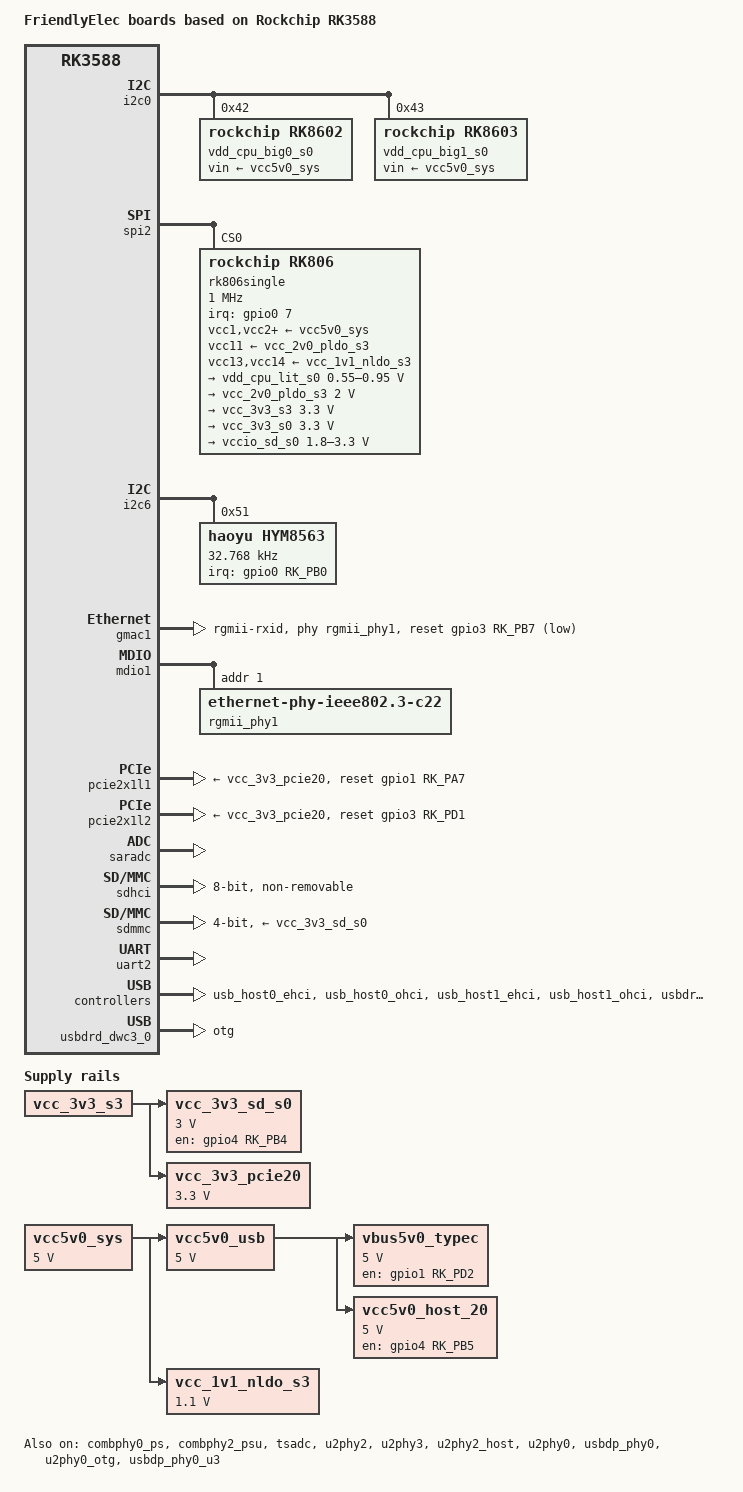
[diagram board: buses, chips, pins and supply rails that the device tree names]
// SPDX-License-Identifier: GPL-2.0-or-later OR MIT
/*
 * Copyright (c) 2021 Rockchip Electronics Co., Ltd.
 *
 * Copyright (c) 2022 FriendlyElec Computer Tech. Co., Ltd.
 * (http://www.friendlyelec.com)
 *
 */

/dts-v1/;

#include <dt-bindings/gpio/gpio.h>
#include <dt-bindings/input/input.h>
#include <dt-bindings/leds/common.h>
#include <dt-bindings/pinctrl/rockchip.h>
#include <dt-bindings/usb/pd.h>
#include "rk3588s.dtsi"

/ {
	model = "FriendlyElec boards based on Rockchip RK3588";
	compatible = "friendlyelec,nanopi6",
		     "rockchip,rk3588";

	vcc5v0_sys: vcc5v0-sys {
		compatible = "regulator-fixed";
		regulator-name = "vcc5v0_sys";
		regulator-always-on;
		regulator-boot-on;
		regulator-min-microvolt = <5000000>;
		regulator-max-microvolt = <5000000>;
	};

	vcc5v0_usb: vcc5v0-usb {
		compatible = "regulator-fixed";
		regulator-name = "vcc5v0_usb";
		regulator-always-on;
		regulator-boot-on;
		regulator-min-microvolt = <5000000>;
		regulator-max-microvolt = <5000000>;
		vin-supply = <&vcc5v0_sys>;
	};

	vcc_1v1_nldo_s3: vcc-1v1-nldo-s3 {
		compatible = "regulator-fixed";
		regulator-name = "vcc_1v1_nldo_s3";
		regulator-always-on;
		regulator-boot-on;
		regulator-min-microvolt = <1100000>;
		regulator-max-microvolt = <1100000>;
		vin-supply = <&vcc5v0_sys>;
	};

	vcc_3v3_sd_s0: vcc-3v3-sd-s0-regulator {
		compatible = "regulator-fixed";
		enable-active-high;
		gpio = <&gpio4 RK_PB4 GPIO_ACTIVE_HIGH>;
		pinctrl-names = "default";
		pinctrl-0 = <&sd_s0_pwr>;
		regulator-always-on;
		regulator-boot-on;
		regulator-max-microvolt = <3000000>;
		regulator-min-microvolt = <3000000>;
		regulator-name = "vcc_3v3_sd_s0";
		vin-supply = <&vcc_3v3_s3>;
	};

	vcc_3v3_pcie20: vcc3v3-pcie20 {
		compatible = "regulator-fixed";
		regulator-name = "vcc_3v3_pcie20";
		regulator-always-on;
		regulator-boot-on;
		regulator-min-microvolt = <3300000>;
		regulator-max-microvolt = <3300000>;
		vin-supply = <&vcc_3v3_s3>;
	};

	vbus5v0_typec: vbus5v0-typec {
		compatible = "regulator-fixed";
		enable-active-high;
		gpio = <&gpio1 RK_PD2 GPIO_ACTIVE_HIGH>;
		pinctrl-names = "default";
		pinctrl-0 = <&typec5v_pwren>;
		regulator-name = "vbus5v0_typec";
		regulator-min-microvolt = <5000000>;
		regulator-max-microvolt = <5000000>;
		vin-supply = <&vcc5v0_usb>;
	};

	vcc5v0_host_20: vcc5v0-host-20 {
		compatible = "regulator-fixed";
		enable-active-high;
		gpio = <&gpio4 RK_PB5 GPIO_ACTIVE_HIGH>;
		pinctrl-names = "default";
		pinctrl-0 = <&vcc5v0_host20_en>;
		regulator-name = "vcc5v0_host_20";
		regulator-min-microvolt = <5000000>;
		regulator-max-microvolt = <5000000>;
		vin-supply = <&vcc5v0_usb>;
	};
};

&combphy0_ps {
	status = "okay";
};

&combphy2_psu {
	status = "okay";
};

&cpu_l0 {
	cpu-supply = <&vdd_cpu_lit_s0>;
	mem-supply = <&vdd_cpu_lit_mem_s0>;
};

&cpu_b0 {
	cpu-supply = <&vdd_cpu_big0_s0>;
	mem-supply = <&vdd_cpu_big0_mem_s0>;
};

&cpu_b2 {
	cpu-supply = <&vdd_cpu_big1_s0>;
	mem-supply = <&vdd_cpu_big1_mem_s0>;
};

&i2c0 {
	pinctrl-names = "default";
	pinctrl-0 = <&i2c0m2_xfer>;
	status = "okay";

	vdd_cpu_big0_s0: vdd_cpu_big0_mem_s0: regulator@42 {
		compatible = "rockchip,rk8602";
		reg = <0x42>;
		fcs,suspend-voltage-selector = <1>;
		regulator-name = "vdd_cpu_big0_s0";
		regulator-always-on;
		regulator-boot-on;
		regulator-min-microvolt = <550000>;
		regulator-max-microvolt = <1050000>;
		regulator-ramp-delay = <2300>;
		vin-supply = <&vcc5v0_sys>;

		regulator-state-mem {
			regulator-off-in-suspend;
		};
	};

	vdd_cpu_big1_s0: vdd_cpu_big1_mem_s0: regulator@43 {
		compatible = "rockchip,rk8603", "rockchip,rk8602";
		reg = <0x43>;
		fcs,suspend-voltage-selector = <1>;
		regulator-name = "vdd_cpu_big1_s0";
		regulator-always-on;
		regulator-boot-on;
		regulator-min-microvolt = <550000>;
		regulator-max-microvolt = <1050000>;
		regulator-ramp-delay = <2300>;
		vin-supply = <&vcc5v0_sys>;

		regulator-state-mem {
			regulator-off-in-suspend;
		};
	};
};

&spi2 {
	status = "okay";
	assigned-clocks = <&cru CLK_SPI2>;
	assigned-clock-rates = <200000000>;
	pinctrl-names = "default";
	pinctrl-0 = <&spi2m2_cs0 &spi2m2_pins>;
	num-cs = <1>;

	rk806single: rk806single@0 {
		compatible = "rockchip,rk806";
		spi-max-frequency = <1000000>;
		reg = <0x0>;

		interrupt-parent = <&gpio0>;
		interrupts = <7 IRQ_TYPE_LEVEL_LOW>;

		pinctrl-names = "default";
		pinctrl-0 = <&pmic_pins>, <&rk806_dvs1_null>, <&rk806_dvs2_null>, <&rk806_dvs3_null>;

		vcc1-supply = <&vcc5v0_sys>;
		vcc2-supply = <&vcc5v0_sys>;
		vcc3-supply = <&vcc5v0_sys>;
		vcc4-supply = <&vcc5v0_sys>;
		vcc5-supply = <&vcc5v0_sys>;
		vcc6-supply = <&vcc5v0_sys>;
		vcc7-supply = <&vcc5v0_sys>;
		vcc8-supply = <&vcc5v0_sys>;
		vcc9-supply = <&vcc5v0_sys>;
		vcc10-supply = <&vcc5v0_sys>;
		vcc11-supply = <&vcc_2v0_pldo_s3>;
		vcc12-supply = <&vcc5v0_sys>;
		vcc13-supply = <&vcc_1v1_nldo_s3>;
		vcc14-supply = <&vcc_1v1_nldo_s3>;
		vcca-supply = <&vcc5v0_sys>;

		gpio-controller;
		#gpio-cells = <2>;

		rk806_dvs1_null: dvs1-null-pins {
			pins = "gpio_pwrctrl2";
			function = "pin_fun0";
		};

		rk806_dvs1_slp: dvs1-slp-pins {
			pins = "gpio_pwrctrl1";
			function = "pin_fun1";
		};

		rk806_dvs1_pwrdn: dvs1-pwrdn-pins {
			pins = "gpio_pwrctrl1";
			function = "pin_fun2";
		};

		rk806_dvs1_rst: dvs1-rst-pins {
			pins = "gpio_pwrctrl1";
			function = "pin_fun3";
		};

		rk806_dvs2_null: dvs2-null-pins {
			pins = "gpio_pwrctrl2";
			function = "pin_fun0";
		};

		rk806_dvs2_slp: dvs2-slp-pins {
			pins = "gpio_pwrctrl2";
			function = "pin_fun1";
		};

		rk806_dvs2_pwrdn: dvs2-pwrdn-pins {
			pins = "gpio_pwrctrl2";
			function = "pin_fun2";
		};

		rk806_dvs2_rst: dvs2-rst-pins {
			pins = "gpio_pwrctrl2";
			function = "pin_fun3";
		};

		rk806_dvs2_dvs: dvs2-dvs-pins {
			pins = "gpio_pwrctrl2";
			function = "pin_fun4";
		};

		rk806_dvs2_gpio: dvs2-gpio-pins {
			pins = "gpio_pwrctrl2";
			function = "pin_fun5";
		};

		rk806_dvs3_null: dvs3-null-pins {
			pins = "gpio_pwrctrl3";
			function = "pin_fun0";
		};

		rk806_dvs3_slp: dvs3-slp-pins {
			pins = "gpio_pwrctrl3";
			function = "pin_fun1";
		};

		rk806_dvs3_pwrdn: dvs3-pwrdn-pins {
			pins = "gpio_pwrctrl3";
			function = "pin_fun2";
		};

		rk806_dvs3_rst: dvs3-rst-pins {
			pins = "gpio_pwrctrl3";
			function = "pin_fun3";
		};

		rk806_dvs3_dvs: dvs3-dvs-pins {
			pins = "gpio_pwrctrl3";
			function = "pin_fun4";
		};

		rk806_dvs3_gpio: dvs3-gpio-pins {
			pins = "gpio_pwrctrl3";
			function = "pin_fun5";
		};

		regulators {
			vdd_cpu_lit_s0: vdd_cpu_lit_mem_s0: dcdc-reg2 {
				regulator-always-on;
				regulator-boot-on;
				regulator-min-microvolt = <550000>;
				regulator-max-microvolt = <950000>;
				regulator-ramp-delay = <12500>;
				regulator-name = "vdd_cpu_lit_s0";
				regulator-state-mem {
					regulator-off-in-suspend;
				};
			};

			vcc_2v0_pldo_s3: dcdc-reg7 {
				regulator-always-on;
				regulator-boot-on;
				regulator-min-microvolt = <2000000>;
				regulator-max-microvolt = <2000000>;
				regulator-ramp-delay = <12500>;
				regulator-name = "vdd_2v0_pldo_s3";
				regulator-state-mem {
					regulator-on-in-suspend;
					regulator-suspend-microvolt = <2000000>;
				};
			};

			vcc_3v3_s3: dcdc-reg8 {
				regulator-always-on;
				regulator-boot-on;
				regulator-min-microvolt = <3300000>;
				regulator-max-microvolt = <3300000>;
				regulator-name = "vcc_3v3_s3";
				regulator-state-mem {
					regulator-on-in-suspend;
					regulator-suspend-microvolt = <3300000>;
				};
			};

			vcc_3v3_s0: pldo-reg4 {
				regulator-always-on;
				regulator-boot-on;
				regulator-min-microvolt = <3300000>;
				regulator-max-microvolt = <3300000>;
				regulator-ramp-delay = <12500>;
				regulator-name = "vcc_3v3_s0";
				regulator-state-mem {
					regulator-off-in-suspend;
				};
			};

			vccio_sd_s0: pldo-reg5 {
				regulator-always-on;
				regulator-boot-on;
				regulator-min-microvolt = <1800000>;
				regulator-max-microvolt = <3300000>;
				regulator-ramp-delay = <12500>;
				regulator-name = "vccio_sd_s0";
				regulator-state-mem {
					regulator-off-in-suspend;
				};
			};
		};
	};
};

&i2c6 {
	status = "okay";

	hym8563: hym8563@51 {
		compatible = "haoyu,hym8563";
		reg = <0x51>;
		#clock-cells = <0>;
		clock-frequency = <32768>;
		clock-output-names = "hym8563";
		pinctrl-names = "default";
		pinctrl-0 = <&rtc_int>;
		interrupt-parent = <&gpio0>;
		interrupts = <RK_PB0 IRQ_TYPE_LEVEL_LOW>;
		wakeup-source;
	};
};

&gmac1 {
	/* Use rgmii-rxid mode to disable rx delay inside Soc */
	phy-mode = "rgmii-rxid";
	clock_in_out = "output";

	snps,no-vlhash;
	snps,reset-gpio = <&gpio3 RK_PB7 GPIO_ACTIVE_LOW>;
	snps,reset-active-low;
	/* Reset time is 20ms, 100ms for rtl8211f */
	snps,reset-delays-us = <0 20000 100000>;

	pinctrl-names = "default";
	pinctrl-0 = <&gmac1_miim
		     &gmac1_tx_bus2
		     &gmac1_rx_bus2
		     &gmac1_rgmii_clk
		     &gmac1_rgmii_bus>;

	tx_delay = <0x42>;
	/* rx_delay = <0x4f>; */

	phy-handle = <&rgmii_phy1>;
	status = "okay";
};

&mdio1 {
	rgmii_phy1: ethernet-phy@1 {
		compatible = "ethernet-phy-ieee802.3-c22";
		reg = <1>;
	};
};

&pcie2x1l1 {
	reset-gpios = <&gpio1 RK_PA7 GPIO_ACTIVE_HIGH>;
	vpcie3v3-supply = <&vcc_3v3_pcie20>;
	status = "okay";
};

&pcie2x1l2 {
	reset-gpios = <&gpio3 RK_PD1 GPIO_ACTIVE_HIGH>;
	vpcie3v3-supply = <&vcc_3v3_pcie20>;
	status = "okay";
};

&pinctrl {
	hym8563 {
		rtc_int: rtc-int {
			rockchip,pins = <0 RK_PB0 RK_FUNC_GPIO &pcfg_pull_up>;
		};
	};

	sdmmc {
		sd_s0_pwr: sd-s0-pwr {
			rockchip,pins = <4 RK_PB4 RK_FUNC_GPIO &pcfg_pull_up>;
		};
	};

	usb {
		typec5v_pwren: typec5v-pwren {
			rockchip,pins = <1 RK_PD2 RK_FUNC_GPIO &pcfg_pull_none>;
		};

		/omit-if-no-ref/
		usbc0_int: usbc0-int {
			rockchip,pins = <0 RK_PD3 RK_FUNC_GPIO &pcfg_pull_up>;
		};
	};
};

&saradc {
	status = "okay";
};

&sdhci {
	bus-width = <8>;
	no-sdio;
	no-sd;
	non-removable;
	max-frequency = <200000000>;
	cap-mmc-highspeed;
	mmc-hs200-1_8v;
	status = "okay";
};

&sdmmc {
	bus-width = <4>;
	cap-mmc-highspeed;
	cap-sd-highspeed;
	disable-wp;
	max-frequency = <150000000>;
	no-sdio;
	no-mmc;
	pinctrl-names = "default";
	pinctrl-0 = <&sdmmc_bus4 &sdmmc_clk &sdmmc_cmd &sdmmc_det>;
	vmmc-supply = <&vcc_3v3_sd_s0>;
	vqmmc-supply = <&vccio_sd_s0>;
	status = "okay";
};

&tsadc {
	status = "okay";
};

&uart2 {
	pinctrl-0 = <&uart2m0_xfer>;
	status = "okay";
};

&u2phy2 {
	status = "okay";
};

&u2phy3 {
	status = "okay";
};

&u2phy2_host {
	phy-supply = <&vcc5v0_host_20>;
	status = "okay";
};

&usb_host0_ehci {
	status = "okay";
};

&usb_host0_ohci {
	status = "okay";
};

&usb_host1_ehci {
	status = "okay";
};

&usb_host1_ohci {
	status = "okay";
};

&u2phy0 {
	status = "okay";
};

&usbdp_phy0 {
	status = "okay";
};

&u2phy0_otg {
	phy-supply = <&vbus5v0_typec>;
	status = "okay";
};

&usbdp_phy0_u3 {
	status = "okay";
};

&usbdrd3_0 {
	status = "okay";
};

&usbdrd_dwc3_0 {
	dr_mode = "otg";
	extcon = <&u2phy0>;
	status = "okay";
};
